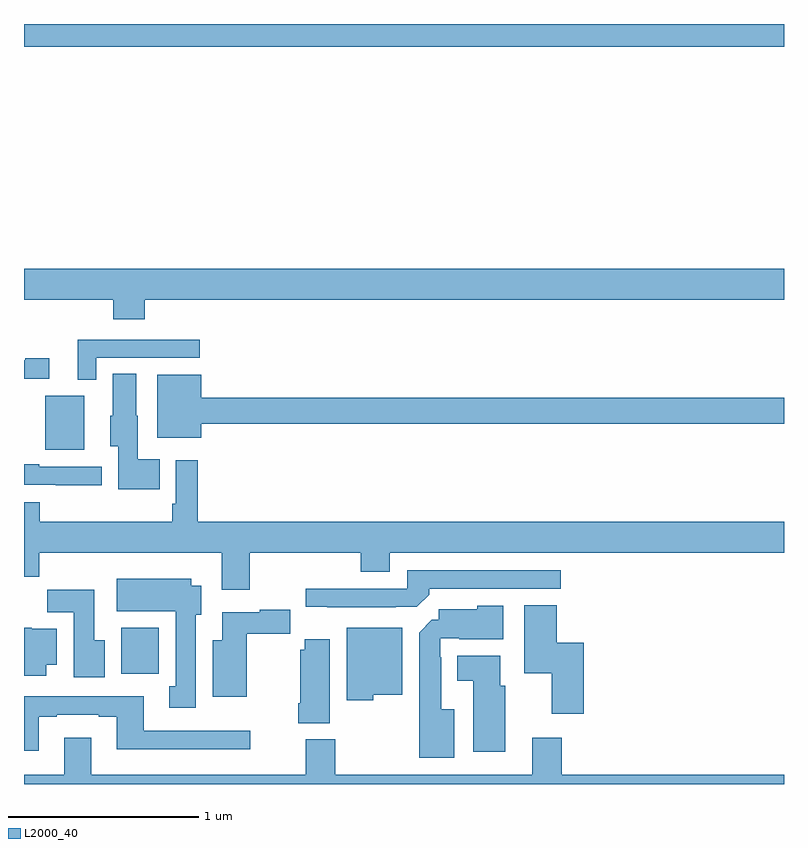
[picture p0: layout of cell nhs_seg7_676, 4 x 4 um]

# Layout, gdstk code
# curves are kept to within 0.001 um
import gdstk
lib = gdstk.Library(unit=1e-6, precision=1e-09)
def R(c, l, rs):  # rectangles x0, y0, x1, y1
    for r in rs: c.add(gdstk.rectangle(r[:2], r[2:], *l))
def P(c, l, *ps):  # polygons
    for p in ps: c.add(gdstk.Polygon(p, *l))
L2000_40 = (2000, 40)

nhs_seg7_676 = lib.new_cell('nhs_seg7_676')
R(nhs_seg7_676, L2000_40, [(161.513,1066.58,161.71,1066.822), (161.111,1067.759,161.317,1068.043), (161,1069.88,165,1070)])
P(nhs_seg7_676, L2000_40, [(161.636,1068.548),(165,1068.548),(165,1068.712),(161,1068.712),(161,1068.548),(161.471,1068.548),(161.471,1068.446),(161.636,1068.446)],
  [(161.379,1068.243),(161.926,1068.243),(161.926,1068.339),(161.282,1068.339),(161.282,1068.128),(161.379,1068.128)],
  [(161.134,1068.241),(161.006,1068.241),(161.006,1068.23),(161,1068.23),(161,1068.132),(161.134,1068.132)],
  [(161.714,1067.71),(161.599,1067.71),(161.599,1067.937),(161.59,1067.937),(161.59,1068.158),(161.468,1068.158),(161.468,1067.937),(161.453,1067.937),(161.453,1067.778),(161.495,1067.778),(161.495,1067.552),(161.714,1067.552)],
  [(161.932,1067.896),(165,1067.896),(165,1068.032),(161.932,1068.032),(161.932,1068.154),(161.702,1068.154),(161.702,1067.822),(161.932,1067.822)],
  [(162.189,1067.216),(162.773,1067.216),(162.773,1067.117),(162.925,1067.117),(162.925,1067.216),(165,1067.216),(165,1067.38),(161.915,1067.38),(161.915,1067.704),(161.799,1067.704),(161.799,1067.476),(161.779,1067.476),(161.779,1067.38),(161.084,1067.38),(161.084,1067.482),(161,1067.482),(161,1067.092),(161.081,1067.092),(161.081,1067.216),(162.041,1067.216),(162.041,1067.022),(162.189,1067.022)],
  [(161.41,1067.67),(161.08,1067.67),(161.08,1067.683),(161,1067.683),(161,1067.574),(161.167,1067.574),(161.167,1067.573),(161.41,1067.573)],
  [(162.956,1066.932),(163.067,1066.932),(163.133,1066.997),(163.133,1067.028),(163.825,1067.028),(163.825,1067.124),(163.017,1067.124),(163.017,1067.028),(162.484,1067.028),(162.484,1066.933),(162.595,1066.933),(162.595,1066.931)],
  [(161.905,1066.89),(161.932,1066.89),(161.932,1067.044),(161.881,1067.044),(161.881,1067.08),(161.489,1067.08),(161.489,1066.91),(161.798,1066.91),(161.798,1066.514),(161.765,1066.514),(161.765,1066.401),(161.905,1066.401)],
  [(161.425,1066.756),(161.371,1066.756),(161.371,1067.022),(161.122,1067.022),(161.122,1066.904),(161.261,1066.904),(161.261,1066.563),(161.425,1066.563)],
  [(163.946,1066.744),(163.805,1066.744),(163.805,1066.942),(163.634,1066.942),(163.634,1066.582),(163.778,1066.582),(163.778,1066.371),(163.946,1066.371)],
  [(163.264,1066.393),(163.195,1066.393),(163.195,1066.667),(163.191,1066.667),(163.191,1066.767),(163.291,1066.767),(163.291,1066.763),(163.522,1066.763),(163.522,1066.939),(163.386,1066.939),(163.386,1066.921),(163.184,1066.921),(163.184,1066.864),(163.145,1066.864),(163.079,1066.797),(163.079,1066.139),(163.264,1066.139)],
  [(162.172,1066.79),(162.401,1066.79),(162.401,1066.916),(162.24,1066.916),(162.24,1066.903),(162.044,1066.903),(162.044,1066.756),(161.993,1066.756),(161.993,1066.46),(162.172,1066.46)],
  [(161.116,1066.628),(161.173,1066.628),(161.173,1066.816),(161.04,1066.816),(161.04,1066.822),(161,1066.822),(161,1066.571),(161.116,1066.571)],
  [(162.837,1066.469),(162.991,1066.469),(162.991,1066.822),(162.698,1066.822),(162.698,1066.442),(162.837,1066.442)],
  [(162.61,1066.763),(162.477,1066.763),(162.477,1066.707),(162.455,1066.707),(162.455,1066.426),(162.443,1066.426),(162.443,1066.321),(162.61,1066.321)],
  [(163.534,1066.518),(163.507,1066.518),(163.507,1066.675),(163.28,1066.675),(163.28,1066.544),(163.364,1066.544),(163.364,1066.17),(163.534,1066.17)],
  [(161.077,1066.353),(161.173,1066.353),(161.173,1066.365),(161.393,1066.365),(161.393,1066.353),(161.489,1066.353),(161.489,1066.184),(162.19,1066.184),(162.19,1066.281),(161.629,1066.281),(161.629,1066.461),(161,1066.461),(161,1066.176),(161.077,1066.176)],
  [(165,1066.048),(163.829,1066.048),(163.829,1066.243),(163.676,1066.243),(163.676,1066.048),(162.639,1066.048),(162.639,1066.236),(162.484,1066.236),(162.484,1066.048),(161.353,1066.048),(161.353,1066.243),(161.213,1066.243),(161.213,1066.048),(161,1066.048),(161,1066),(165,1066)])

lib.write_gds('nhs_seg7_676.gds')
